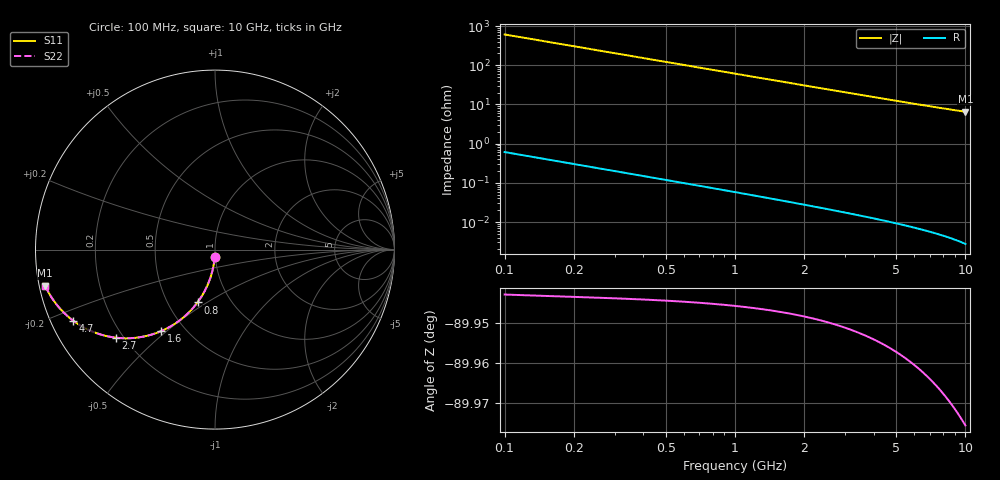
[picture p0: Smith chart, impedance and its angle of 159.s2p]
# Hz S RI R 50.00
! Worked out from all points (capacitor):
!   100 points, 100 MHz to 10 GHz, reference 50 ohm
!   read as one part in shunt: C = 2.61 pF near 100 MHz
!   lowest |Z| = 6.51 ohm at 10 GHz (marker M1)
!   S11 on the Smith chart (normalised r, x): 100 MHz: 0.99, -0.08; 800 MHz: 0.70, -0.46; 1.6 GHz: 0.37, -0.48; 2.7 GHz: 0.17, -0.37; 4.7 GHz: 0.07, -0.24; 10 GHz: 0.02, -0.11
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1e8  -0.00157 -0.0407  0.9981 -0.0411  0.9981 -0.0411  -0.00157 -0.0407
2e8  -0.00661 -0.081  0.9931 -0.0819  0.9931 -0.0819  -0.00661 -0.081
3e8  -0.0149 -0.1205  0.9848 -0.1218  0.9848 -0.1218  -0.0149 -0.1205
4e8  -0.0262 -0.1588  0.9735 -0.1605  0.9735 -0.1605  -0.0262 -0.1588
5e8  -0.0404 -0.1955  0.9593 -0.1978  0.9593 -0.1978  -0.0404 -0.1955
6e8  -0.0571 -0.2305  0.9426 -0.2332  0.9426 -0.2332  -0.0571 -0.2305
8e8  -0.0972 -0.2942  0.9025 -0.2977  0.9025 -0.2977  -0.0972 -0.2942
1e9  -0.144 -0.3486  0.8556 -0.353  0.8556 -0.353  -0.144 -0.3486
1.2e9  -0.195 -0.3932  0.8046 -0.3985  0.8046 -0.3985  -0.195 -0.3932
1.4e9  -0.248 -0.4283  0.7517 -0.4346  0.7517 -0.4346  -0.248 -0.4283
1.6e9  -0.3011 -0.4547  0.6986 -0.4619  0.6986 -0.4619  -0.3011 -0.4547
1.8e9  -0.3529 -0.4734  0.6468 -0.4814  0.6468 -0.4814  -0.3529 -0.4734
2.2e9  -0.449 -0.492  0.5506 -0.5018  0.5506 -0.5018  -0.449 -0.492
2.7e9  -0.5513 -0.4908  0.4484 -0.5028  0.4484 -0.5028  -0.5513 -0.4908
3.4e9  -0.6611 -0.4651  0.3384 -0.4803  0.3384 -0.4803  -0.6611 -0.4651
4e9  -0.7301 -0.4343  0.2694 -0.4522  0.2694 -0.4522  -0.7301 -0.4343
4.7e9  -0.7892 -0.3966  0.2102 -0.4177  0.2102 -0.4177  -0.7892 -0.3966
5.1e9  -0.8154 -0.3757  0.184 -0.3987  0.184 -0.3987  -0.8154 -0.3757
5.8e9  -0.8514 -0.3417  0.1479 -0.3679  0.1479 -0.3679  -0.8514 -0.3417
6.7e9  -0.8848 -0.303  0.1144 -0.3334  0.1144 -0.3334  -0.8848 -0.303
8.4e9  -0.9242 -0.2439  0.0747 -0.2824  0.0747 -0.2824  -0.9242 -0.2439
1e10  -0.9458 -0.2011  0.0527 -0.2475  0.0527 -0.2475  -0.9458 -0.2011
